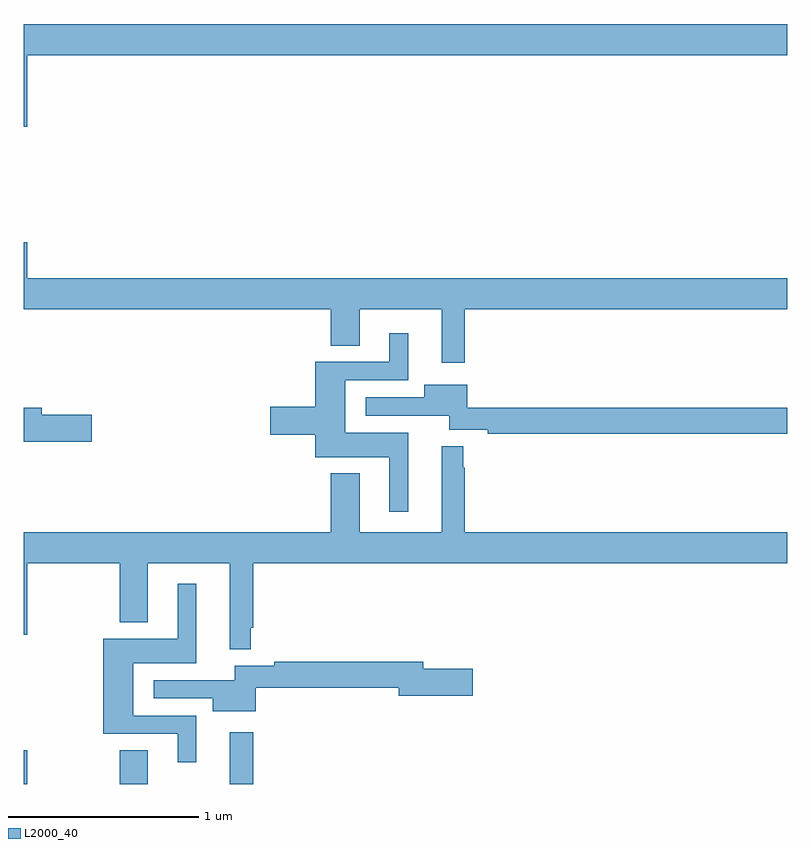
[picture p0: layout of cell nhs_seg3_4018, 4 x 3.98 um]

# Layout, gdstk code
import gdstk
lib = gdstk.Library(unit=1e-6, precision=1e-09)
def R(c, l, rs):  # rectangles x0, y0, x1, y1
    for r in rs: c.add(gdstk.rectangle(r[:2], r[2:], *l))
def P(c, l, *ps):  # polygons
    for p in ps: c.add(gdstk.Polygon(p, *l))
L2000_40 = (2000, 40)

nhs_seg3_4018 = lib.new_cell('nhs_seg3_4018')
R(nhs_seg3_4018, L2000_40, [(321,726.4,321.016,726.577), (321.502,726.4,321.649,726.578), (322.079,726.4,322.201,726.67)])
P(nhs_seg3_4018, L2000_40, [(321.016,730.22),(325,730.22),(325,730.384),(321,730.384),(321,729.846),(321.016,729.846)],
  [(323.311,728.888),(325,728.888),(325,729.052),(321.016,729.052),(321.016,729.241),(321,729.241),(321,728.888),(322.607,728.888),(322.607,728.698),(322.759,728.698),(322.759,728.888),(323.189,728.888),(323.189,728.607),(323.311,728.607)],
  [(323.014,728.242),(322.684,728.242),(322.684,728.517),(323.014,728.517),(323.014,728.764),(322.916,728.764),(322.916,728.613),(322.526,728.613),(322.526,728.378),(322.29,728.378),(322.29,728.231),(322.526,728.231),(322.526,728.114),(322.916,728.114),(322.916,727.827),(323.014,727.827)],
  [(325,728.372),(323.325,728.372),(323.325,728.494),(323.099,728.494),(323.099,728.427),(322.791,728.427),(322.791,728.331),(323.229,728.331),(323.229,728.256),(323.432,728.256),(323.432,728.236),(325,728.236)],
  [(321.355,728.336),(321.094,728.336),(321.094,728.372),(321,728.372),(321,728.194),(321.355,728.194)],
  [(322.19,727.219),(322.201,727.219),(322.201,727.556),(325,727.556),(325,727.72),(323.311,727.72),(323.311,728.057),(323.302,728.057),(323.302,728.17),(323.189,728.17),(323.189,727.72),(322.759,727.72),(322.759,728.029),(322.607,728.029),(322.607,727.72),(321,727.72),(321,727.182),(321.016,727.182),(321.016,727.556),(321.502,727.556),(321.502,727.247),(321.649,727.247),(321.649,727.556),(322.079,727.556),(322.079,727.107),(322.19,727.107)],
  [(321.904,726.759),(321.574,726.759),(321.574,727.034),(321.904,727.034),(321.904,727.45),(321.806,727.45),(321.806,727.162),(321.416,727.162),(321.416,726.663),(321.806,726.663),(321.806,726.513),(321.904,726.513)],
  [(322.216,726.904),(322.964,726.904),(322.964,726.862),(323.353,726.862),(323.353,727.004),(323.092,727.004),(323.092,727.04),(322.312,727.04),(322.312,727.02),(322.106,727.02),(322.106,726.945),(321.681,726.945),(321.681,726.849),(321.989,726.849),(321.989,726.782),(322.216,726.782)])

lib.write_gds('nhs_seg3_4018.gds')
